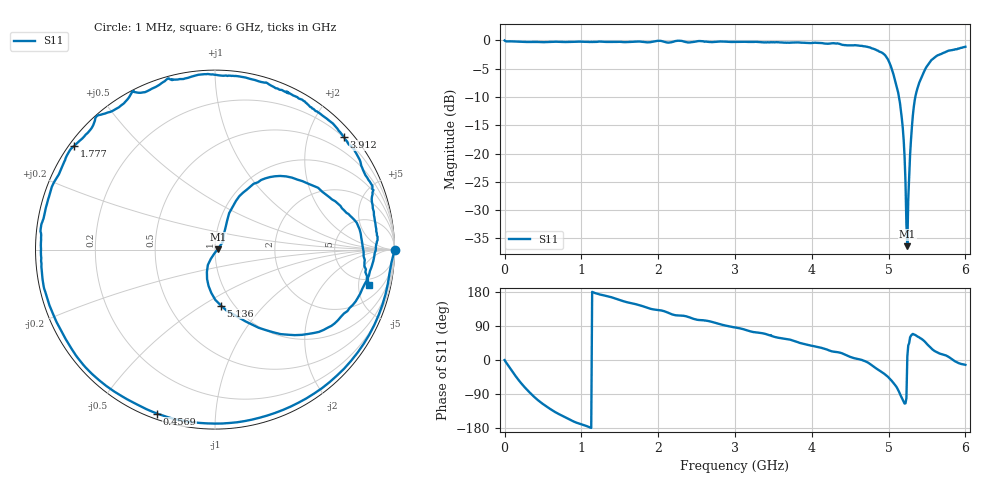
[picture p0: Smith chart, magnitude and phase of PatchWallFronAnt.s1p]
# Hz S RI R 50
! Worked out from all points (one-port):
!   501 points, 1 MHz to 6 GHz, reference 50 ohm
!   lowest |S11| = -36.4 dB at 5.244 GHz (marker M1), VSWR 1.03, Z = 51.5 + j0.251 ohm
!   |S11| at or under -10 dB: 5.135 GHz to 5.348 GHz (212.9 MHz wide, 4.06 % of centre)
!   S11 on the Smith chart (normalised r, x): 1 MHz: open; 456.9 MHz: 0.02, -0.71; 1.777 GHz: 0.01, +0.33; 3.912 GHz: 0.19, +2.65; 5.136 GHz: 0.87, -0.60; 6 GHz: 3.90, -6.70
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1000000  1 -0.00294
9.6984e7  0.86 -0.4733
2.16964e8  0.4653 -0.8528
3.24946e8  0.0806 -0.9661
4.56924e8  -0.3232 -0.9135
7.56874e8  -0.8203 -0.517
1.032828e9  -0.9631 -0.1387
1.50075e9  -0.9034 0.3624
1.776704e9  -0.7851 0.5787
2.256624e9  -0.4611 0.8815
3.0005e9  0.0697 0.9673
3.756374e9  0.5991 0.7464
3.912348e9  0.7168 0.6281
4.50025e9  0.8955 0.129
4.704216e9  0.8821 -0.0635
4.848192e9  0.7502 -0.3247
5.004166e9  0.4453 -0.4766
5.136144e9  0.0333 -0.3116
5.184136e9  -0.044 -0.1644
5.22013e9  -0.023 -0.051
5.244126e9  0.015 0.00243
5.256124e9  0.031 0.0245
5.292118e9  0.0581 0.1201
5.316114e9  0.0788 0.203
5.4001e9  0.215 0.3666
5.496084e9  0.4295 0.4007
5.64006e9  0.6988 0.2437
6e9  0.8578 -0.1946
